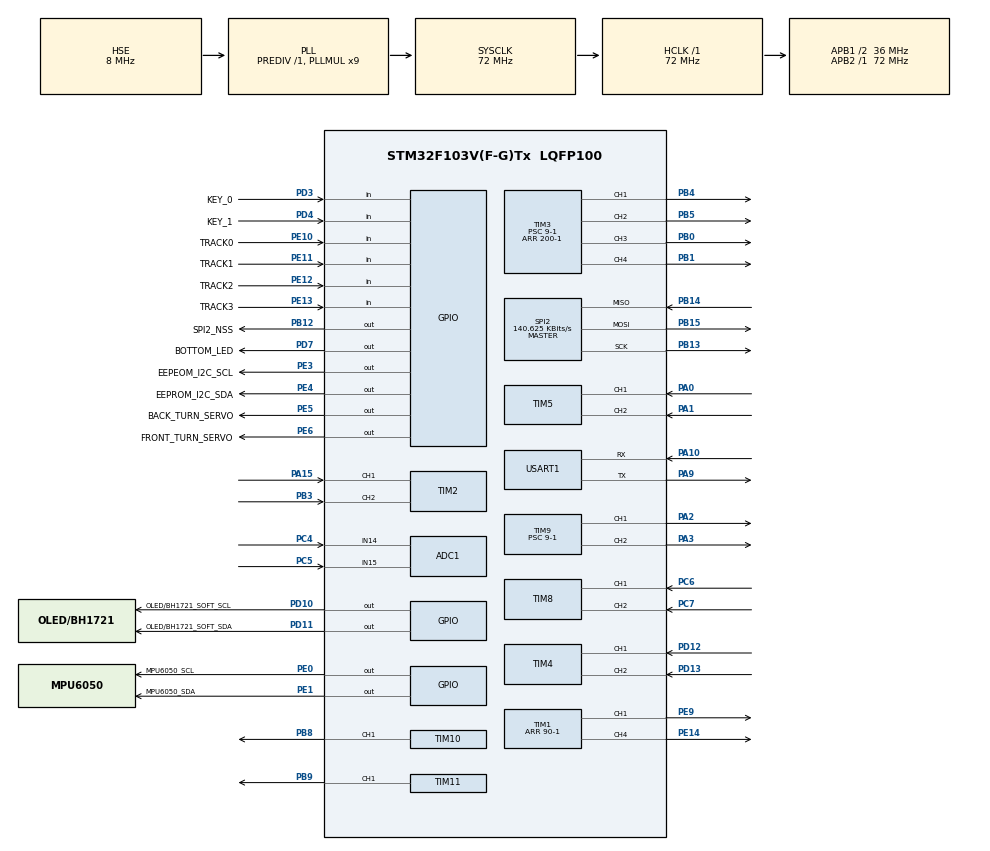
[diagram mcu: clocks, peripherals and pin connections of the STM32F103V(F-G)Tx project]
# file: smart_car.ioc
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ADC1.Channel-0\#ChannelRegularConversion=ADC_CHANNEL_14
ADC1.ContinuousConvMode=ENABLE
ADC1.NbrOfConversionFlag=1
ADC1.Rank-0\#ChannelRegularConversion=1
ADC1.SamplingTime-0\#ChannelRegularConversion=ADC_SAMPLETIME_239CYCLES_5
ADC1.master=1
Dma.Request0=TIM1_CH1
Dma.Request1=TIM1_CH4/TRIG/COM
Dma.TIM1_CH1.0.Direction=DMA_MEMORY_TO_PERIPH
Dma.TIM1_CH1.0.Instance=DMA1_Channel2
Dma.TIM1_CH1.0.MemDataAlignment=DMA_MDATAALIGN_HALFWORD
Dma.TIM1_CH1.0.MemInc=DMA_MINC_ENABLE
Dma.TIM1_CH1.0.Mode=DMA_NORMAL
Dma.TIM1_CH1.0.PeriphDataAlignment=DMA_PDATAALIGN_HALFWORD
Dma.TIM1_CH1.0.PeriphInc=DMA_PINC_DISABLE
Dma.TIM1_CH1.0.Priority=DMA_PRIORITY_LOW
Dma.TIM1_CH4/TRIG/COM.1.Direction=DMA_MEMORY_TO_PERIPH
Dma.TIM1_CH4/TRIG/COM.1.Instance=DMA1_Channel4
Dma.TIM1_CH4/TRIG/COM.1.MemDataAlignment=DMA_MDATAALIGN_HALFWORD
Dma.TIM1_CH4/TRIG/COM.1.MemInc=DMA_MINC_ENABLE
Dma.TIM1_CH4/TRIG/COM.1.Mode=DMA_NORMAL
Dma.TIM1_CH4/TRIG/COM.1.PeriphDataAlignment=DMA_PDATAALIGN_HALFWORD
Dma.TIM1_CH4/TRIG/COM.1.PeriphInc=DMA_PINC_DISABLE
Dma.TIM1_CH4/TRIG/COM.1.Priority=DMA_PRIORITY_LOW
FREERTOS.Tasks01=defaultTask,8,128,StartDefaultTask,Default,NULL,Dynamic,NULL,NULL;key_proc,24,128,start_key_proc,As weak,NULL,Dynamic,NULL,NULL;battery_proc,12,128,start_battery_proc,As weak,NULL,Dynamic,NULL,NULL;temp_proc,14,128,start_temperature_proc,As weak,NULL,Dynamic,NULL,NULL;eeprom_proc,10,128,start_eeprom_proc,As weak,NULL,Dynamic,NULL,NULL;mpu6050_proc,32,512,start_mpu6050_proc,As weak,NULL,Dynamic,NULL,NULL;pid_proc,54,128,start_pid_proc,As weak,NULL,Dynamic,NULL,NULL;ps2_proc,40,128,start_ps2_proc,As weak,NULL,Dynamic,NULL,NULL;oled_proc,24,512,start_oled_proc,As weak,NULL,Dynamic,NULL,NULL
FREERTOS.configTOTAL_HEAP_SIZE=20480
Mcu.Family=STM32F1
Mcu.Name=STM32F103V(F-G)Tx
Mcu.Package=LQFP100
NVIC.DMA1_Channel2_IRQn=true\:5\:0\:false\:false\:true\:true\:false\:true\:true
NVIC.DMA1_Channel4_IRQn=true\:5\:0\:false\:false\:true\:true\:false\:true\:true
NVIC.PriorityGroup=NVIC_PRIORITYGROUP_4
NVIC.TIM6_IRQn=true\:5\:0\:false\:false\:true\:true\:true\:true\:true
NVIC.TIM7_IRQn=true\:0\:0\:true\:false\:true\:false\:false\:true\:true
NVIC.TimeBase=TIM7_IRQn
NVIC.TimeBaseIP=TIM7
OSC_IN.Mode=HSE-External-Oscillator
OSC_IN.Signal=RCC_OSC_IN
OSC_OUT.Mode=HSE-External-Oscillator
OSC_OUT.Signal=RCC_OSC_OUT
PA0-WKUP.Signal=S_TIM5_CH1
PA1.Signal=S_TIM5_CH2
PA10.Mode=Asynchronous
PA10.Signal=USART1_RX
PA13.Mode=Serial_Wire
PA13.Signal=SYS_JTMS-SWDIO
PA14.Mode=Serial_Wire
PA14.Signal=SYS_JTCK-SWCLK
PA15.Signal=S_TIM2_CH1_ETR
PA2.Signal=S_TIM9_CH1
PA3.Signal=S_TIM9_CH2
PA9.Mode=Asynchronous
PA9.Signal=USART1_TX
PB0.Signal=S_TIM3_CH3
PB1.Signal=S_TIM3_CH4
PB12.GPIO_Label=SPI2_NSS
PB12.GPIO_ModeDefaultOutputPP=GPIO_MODE_OUTPUT_PP
PB12.GPIO_Speed=GPIO_SPEED_FREQ_HIGH
PB12.PinState=GPIO_PIN_SET
PB12.Signal=GPIO_Output
PB13.Mode=Full_Duplex_Master
PB13.Signal=SPI2_SCK
PB14.Mode=Full_Duplex_Master
PB14.Signal=SPI2_MISO
PB15.Mode=Full_Duplex_Master
PB15.Signal=SPI2_MOSI
PB3.Signal=S_TIM2_CH2
PB4.Signal=S_TIM3_CH1
PB5.Signal=S_TIM3_CH2
PB8.Signal=S_TIM10_CH1
PB9.Signal=S_TIM11_CH1
PC4.Signal=ADCx_IN14
PC5.Signal=ADCx_IN15
PC6.Signal=S_TIM8_CH1
PC7.Signal=S_TIM8_CH2
PD10.GPIO_Label=OLED/BH1721_SOFT_SCL
PD10.GPIO_ModeDefaultOutputPP=GPIO_MODE_OUTPUT_OD
PD10.GPIO_PuPd=GPIO_PULLUP
PD10.GPIO_Speed=GPIO_SPEED_FREQ_HIGH
PD10.PinState=GPIO_PIN_SET
PD10.Signal=GPIO_Output
PD11.GPIO_Label=OLED/BH1721_SOFT_SDA
PD11.GPIO_ModeDefaultOutputPP=GPIO_MODE_OUTPUT_OD
PD11.GPIO_PuPd=GPIO_PULLUP
PD11.GPIO_Speed=GPIO_SPEED_FREQ_HIGH
PD11.PinState=GPIO_PIN_SET
PD11.Signal=GPIO_Output
PD12.Signal=S_TIM4_CH1
PD13.Signal=S_TIM4_CH2
PD3.GPIO_Label=KEY_0
PD3.GPIO_PuPd=GPIO_PULLUP
PD3.Signal=GPIO_Input
PD4.GPIO_Label=KEY_1
PD4.GPIO_PuPd=GPIO_PULLUP
PD4.Signal=GPIO_Input
PD7.GPIO_Label=BOTTOM_LED
PD7.GPIO_ModeDefaultOutputPP=GPIO_MODE_OUTPUT_PP
PD7.GPIO_PuPd=GPIO_NOPULL
PD7.PinState=GPIO_PIN_RESET
PD7.Signal=GPIO_Output
PE0.GPIO_Label=MPU6050_SCL
PE0.GPIO_PuPd=GPIO_PULLUP
PE0.GPIO_Speed=GPIO_SPEED_FREQ_HIGH
PE0.PinState=GPIO_PIN_SET
PE0.Signal=GPIO_Output
PE1.GPIO_Label=MPU6050_SDA
PE1.GPIO_PuPd=GPIO_PULLUP
PE1.GPIO_Speed=GPIO_SPEED_FREQ_HIGH
PE1.PinState=GPIO_PIN_SET
PE1.Signal=GPIO_Output
PE10.GPIO_Label=TRACK0
PE10.Signal=GPIO_Input
PE11.GPIO_Label=TRACK1
PE11.Signal=GPIO_Input
PE12.GPIO_Label=TRACK2
PE12.Signal=GPIO_Input
PE13.GPIO_Label=TRACK3
PE13.Signal=GPIO_Input
PE14.Signal=S_TIM1_CH4
PE3.GPIO_Label=EEPEOM_I2C_SCL
PE3.GPIO_ModeDefaultOutputPP=GPIO_MODE_OUTPUT_OD
PE3.GPIO_PuPd=GPIO_PULLUP
PE3.GPIO_Speed=GPIO_SPEED_FREQ_HIGH
PE3.PinState=GPIO_PIN_SET
PE3.Signal=GPIO_Output
PE4.GPIO_Label=EEPROM_I2C_SDA
PE4.GPIO_ModeDefaultOutputPP=GPIO_MODE_OUTPUT_OD
PE4.GPIO_PuPd=GPIO_PULLUP
PE4.GPIO_Speed=GPIO_SPEED_FREQ_HIGH
PE4.PinState=GPIO_PIN_SET
PE4.Signal=GPIO_Output
PE5.GPIO_Label=BACK_TURN_SERVO
PE5.Signal=GPIO_Output
PE6.GPIO_Label=FRONT_TURN_SERVO
PE6.Signal=GPIO_Output
PE9.Signal=S_TIM1_CH1
ProjectManager.HeapSize=0x200
ProjectManager.StackSize=0x400
ProjectManager.TargetToolchain=MDK-ARM V5.32
RCC.ADCPresc=RCC_ADCPCLK2_DIV6
RCC.AHBFreq_Value=72000000
RCC.APB1CLKDivider=RCC_HCLK_DIV2
RCC.APB1Freq_Value=36000000
RCC.APB1TimFreq_Value=72000000
RCC.APB2Freq_Value=72000000
RCC.APB2TimFreq_Value=72000000
RCC.HCLKFreq_Value=72000000
RCC.PLLMUL=RCC_PLL_MUL9
RCC.PLLSourceVirtual=RCC_PLLSOURCE_HSE
RCC.SYSCLKFreq_VALUE=72000000
RCC.SYSCLKSource=RCC_SYSCLKSOURCE_PLLCLK
RCC.USBFreq_Value=72000000
SH.ADCx_IN14.0=ADC1_IN14,IN14
SH.ADCx_IN15.0=ADC1_IN15,IN15
SH.S_TIM10_CH1.0=TIM10_CH1,PWM Generation1 CH1
SH.S_TIM11_CH1.0=TIM11_CH1,PWM Generation1 CH1
SH.S_TIM1_CH1.0=TIM1_CH1,PWM Generation1 CH1
SH.S_TIM1_CH4.0=TIM1_CH4,PWM Generation4 CH4
SH.S_TIM2_CH1_ETR.0=TIM2_CH1,Encoder_Interface
SH.S_TIM2_CH2.0=TIM2_CH2,Encoder_Interface
SH.S_TIM3_CH1.0=TIM3_CH1,PWM Generation1 CH1
SH.S_TIM3_CH2.0=TIM3_CH2,PWM Generation2 CH2
SH.S_TIM3_CH3.0=TIM3_CH3,PWM Generation3 CH3
SH.S_TIM3_CH4.0=TIM3_CH4,PWM Generation4 CH4
SH.S_TIM4_CH1.0=TIM4_CH1,Encoder_Interface
SH.S_TIM4_CH2.0=TIM4_CH2,Encoder_Interface
SH.S_TIM5_CH1.0=TIM5_CH1,Encoder_Interface
SH.S_TIM5_CH2.0=TIM5_CH2,Encoder_Interface
SH.S_TIM8_CH1.0=TIM8_CH1,Encoder_Interface
SH.S_TIM8_CH2.0=TIM8_CH2,Encoder_Interface
SH.S_TIM9_CH1.0=TIM9_CH1,PWM Generation1 CH1
SH.S_TIM9_CH2.0=TIM9_CH2,PWM Generation2 CH2
SPI2.BaudRatePrescaler=SPI_BAUDRATEPRESCALER_256
SPI2.CLKPhase=SPI_PHASE_2EDGE
SPI2.CLKPolarity=SPI_POLARITY_HIGH
SPI2.CalculateBaudRate=140.625 KBits/s
SPI2.Direction=SPI_DIRECTION_2LINES
SPI2.FirstBit=SPI_FIRSTBIT_LSB
SPI2.Mode=SPI_MODE_MASTER
SPI2.VirtualType=VM_MASTER
TIM1.Channel-PWM\ Generation1\ CH1=TIM_CHANNEL_1
TIM1.Channel-PWM\ Generation4\ CH4=TIM_CHANNEL_4
TIM1.Period=90-1
TIM10.Channel=TIM_CHANNEL_1
TIM10.Period=200-1
TIM10.Prescaler=9-1
TIM11.Channel=TIM_CHANNEL_1
TIM11.Period=200-1
TIM11.Prescaler=9-1
TIM2.EncoderMode=TIM_ENCODERMODE_TI12
TIM3.Channel-PWM\ Generation1\ CH1=TIM_CHANNEL_1
TIM3.Channel-PWM\ Generation2\ CH2=TIM_CHANNEL_2
TIM3.Channel-PWM\ Generation3\ CH3=TIM_CHANNEL_3
TIM3.Channel-PWM\ Generation4\ CH4=TIM_CHANNEL_4
TIM3.Period=200-1
TIM3.Prescaler=9-1
TIM4.EncoderMode=TIM_ENCODERMODE_TI12
TIM5.EncoderMode=TIM_ENCODERMODE_TI12
TIM6.Period=9
TIM6.Prescaler=72-1
TIM8.EncoderMode=TIM_ENCODERMODE_TI12
TIM9.Channel-PWM\ Generation1\ CH1=TIM_CHANNEL_1
TIM9.Channel-PWM\ Generation2\ CH2=TIM_CHANNEL_2
TIM9.Period=200-1
TIM9.Prescaler=9-1
USART1.VirtualMode=VM_ASYNC
VP_FREERTOS_VS_CMSIS_V2.Mode=CMSIS_V2
VP_SYS_VS_tim7.Mode=TIM7
VP_TIM10_VS_ClockSourceINT.Mode=Enable_Timer
VP_TIM11_VS_ClockSourceINT.Mode=Enable_Timer
VP_TIM1_VS_ClockSourceINT.Mode=Internal
VP_TIM3_VS_ClockSourceINT.Mode=Internal
VP_TIM6_VS_ClockSourceINT.Mode=Enable_Timer
VP_TIM9_VS_ClockSourceINT.Mode=Internal
board=custom

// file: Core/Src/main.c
/* USER CODE BEGIN Header */
/**
  ******************************************************************************
  * @file           : main.c
  * @brief          : Main program body
  ******************************************************************************
  * @attention
  *
  * Copyright (c) 2026 STMicroelectronics.
  * All rights reserved.
  *
  * This software is licensed under terms that can be found in the LICENSE file
  * in the root directory of this software component.
  * If no LICENSE file comes with this software, it is provided AS-IS.
  *
  ******************************************************************************
  */
/* USER CODE END Header */
#include "main.h"
#include "cmsis_os.h"
#include "adc.h"
#include "dma.h"
#include "spi.h"
#include "tim.h"
#include "usart.h"
#include "gpio.h"

/* USER CODE BEGIN Includes */
#include "stdio.h"
#include "key.h"
#include "servo.h"
#include "motor.h"
#include "encoder.h"
#include "pid.h"
#include "ws2812.h"
#include "oled.h"
#include "battery.h"
#include "ntc.h"
#include "bh1721.h"
#include "delay.h"
#include "eeprom.h"
#include "mpu6050.h"
#include "ps2.h"
/* USER CODE END Includes */

void SystemClock_Config(void);
void MX_FREERTOS_Init(void);
/* USER CODE BEGIN PFP */
typedef struct __FILE FILE;
int fputc(int ch, FILE *str)
{
	HAL_UART_Transmit(&huart1, (uint8_t *)&ch, 1, 10);
	return ch;
}

uint8_t totalDistance = 10;
/* USER CODE END PFP */

int main(void)
{

  /* MCU Configuration--------------------------------------------------------*/

  /* Reset of all peripherals, Initializes the Flash interface and the Systick. */
  HAL_Init();

  /* Configure the system clock */
  SystemClock_Config();

  /* Initialize all configured peripherals */
  MX_GPIO_Init();
  MX_DMA_Init();
  MX_USART1_UART_Init();
  MX_TIM6_Init();
  MX_TIM3_Init();
  MX_TIM9_Init();
  MX_TIM10_Init();
  MX_TIM11_Init();
  MX_TIM4_Init();
  MX_TIM2_Init();
  MX_TIM5_Init();
  MX_TIM8_Init();
  MX_TIM1_Init();
  MX_ADC1_Init();
  MX_SPI2_Init();
  /* USER CODE BEGIN 2 */
	servo_init();
	motor_init();
	DWT_Init();
	encoder_init();
	ADC_init();
	OLED_Init();
	OLED_Clear();
	NTC_ADC_Init();
	BH1721_Init();
	PS2_Init();
//	mpu6050_init();

  /* USER CODE END 2 */

  /* Init scheduler */
  osKernelInitialize();  /* Call init function for freertos objects (in cmsis_os2.c) */
  MX_FREERTOS_Init();

  /* Start scheduler */
  osKernelStart();

  /* We should never get here as control is now taken by the scheduler */

  /* Infinite loop */
  while (1)
  {

  }
}

void SystemClock_Config(void)
{
  RCC_OscInitTypeDef RCC_OscInitStruct = {0};
  RCC_ClkInitTypeDef RCC_ClkInitStruct = {0};
  RCC_PeriphCLKInitTypeDef PeriphClkInit = {0};

  /** Initializes the RCC Oscillators according to the specified parameters
  * in the RCC_OscInitTypeDef structure.
  */
  RCC_OscInitStruct.OscillatorType = RCC_OSCILLATORTYPE_HSE;
  RCC_OscInitStruct.HSEState = RCC_HSE_ON;
  RCC_OscInitStruct.HSEPredivValue = RCC_HSE_PREDIV_DIV1;
  RCC_OscInitStruct.HSIState = RCC_HSI_ON;
  RCC_OscInitStruct.PLL.PLLState = RCC_PLL_ON;
  RCC_OscInitStruct.PLL.PLLSource = RCC_PLLSOURCE_HSE;
  RCC_OscInitStruct.PLL.PLLMUL = RCC_PLL_MUL9;
  if (HAL_RCC_OscConfig(&RCC_OscInitStruct) != HAL_OK)
  {
    Error_Handler();
  }

  /** Initializes the CPU, AHB and APB buses clocks
  */
  RCC_ClkInitStruct.ClockType = RCC_CLOCKTYPE_HCLK|RCC_CLOCKTYPE_SYSCLK
                              |RCC_CLOCKTYPE_PCLK1|RCC_CLOCKTYPE_PCLK2;
  RCC_ClkInitStruct.SYSCLKSource = RCC_SYSCLKSOURCE_PLLCLK;
  RCC_ClkInitStruct.AHBCLKDivider = RCC_SYSCLK_DIV1;
  RCC_ClkInitStruct.APB1CLKDivider = RCC_HCLK_DIV2;
  RCC_ClkInitStruct.APB2CLKDivider = RCC_HCLK_DIV1;

  if (HAL_RCC_ClockConfig(&RCC_ClkInitStruct, FLASH_LATENCY_2) != HAL_OK)
  {
    Error_Handler();
  }
  PeriphClkInit.PeriphClockSelection = RCC_PERIPHCLK_ADC;
  PeriphClkInit.AdcClockSelection = RCC_ADCPCLK2_DIV6;
  if (HAL_RCCEx_PeriphCLKConfig(&PeriphClkInit) != HAL_OK)
  {
    Error_Handler();
  }
}

void HAL_TIM_PeriodElapsedCallback(TIM_HandleTypeDef *htim)
{
  if (htim->Instance == TIM7)
  {
    HAL_IncTick();
  }
  /* USER CODE BEGIN Callback 1 */
    static uint16_t count = 0;
    if(htim->Instance == TIM6)  // timer6 10us
    {
        if(++count == 2000) count = 0;
        // 前舵机pwm输出
        if(count < front_pwm_value)
        {
            HAL_GPIO_WritePin(GPIOE, GPIO_PIN_6, GPIO_PIN_SET);
        }
        else
        {
            HAL_GPIO_WritePin(GPIOE, GPIO_PIN_6, GPIO_PIN_RESET);
        }
        // 后舵机pwm输出
        if(count < back_pwm_value)
        {
            HAL_GPIO_WritePin(GPIOE, GPIO_PIN_5, GPIO_PIN_SET);
        }
        else
        {
            HAL_GPIO_WritePin(GPIOE, GPIO_PIN_5, GPIO_PIN_RESET);
        }
    }
  /* USER CODE END Callback 1 */
}

void Error_Handler(void)
{
  __disable_irq();
  while (1)
  {
  }
}

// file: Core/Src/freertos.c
/* USER CODE BEGIN Header */
/**
  ******************************************************************************
  * File Name          : freertos.c
  * Description        : Code for freertos applications
  ******************************************************************************
  * @attention
  *
  * Copyright (c) 2026 STMicroelectronics.
  * All rights reserved.
  *
  * This software is licensed under terms that can be found in the LICENSE file
  * in the root directory of this software component.
  * If no LICENSE file comes with this software, it is provided AS-IS.
  *
  ******************************************************************************
  */
/* USER CODE END Header */

#include "FreeRTOS.h"
#include "task.h"
#include "main.h"
#include "cmsis_os.h"

/* USER CODE BEGIN Includes */
#include "system_bsp.h"
/* USER CODE END Includes */

/* Definitions for defaultTask */
osThreadId_t defaultTaskHandle;
const osThreadAttr_t defaultTask_attributes = {
  .name = "defaultTask",
  .stack_size = 128 * 4,
  .priority = (osPriority_t) osPriorityLow,
};
/* Definitions for key_proc */
osThreadId_t key_procHandle;
const osThreadAttr_t key_proc_attributes = {
  .name = "key_proc",
  .stack_size = 128 * 4,
  .priority = (osPriority_t) osPriorityNormal,
};
/* Definitions for battery_proc */
osThreadId_t battery_procHandle;
const osThreadAttr_t battery_proc_attributes = {
  .name = "battery_proc",
  .stack_size = 128 * 4,
  .priority = (osPriority_t) osPriorityLow4,
};
/* Definitions for temp_proc */
osThreadId_t temp_procHandle;
const osThreadAttr_t temp_proc_attributes = {
  .name = "temp_proc",
  .stack_size = 128 * 4,
  .priority = (osPriority_t) osPriorityLow6,
};
/* Definitions for eeprom_proc */
osThreadId_t eeprom_procHandle;
const osThreadAttr_t eeprom_proc_attributes = {
  .name = "eeprom_proc",
  .stack_size = 128 * 4,
  .priority = (osPriority_t) osPriorityLow2,
};
/* Definitions for mpu6050_proc */
osThreadId_t mpu6050_procHandle;
const osThreadAttr_t mpu6050_proc_attributes = {
  .name = "mpu6050_proc",
  .stack_size = 512 * 4,
  .priority = (osPriority_t) osPriorityAboveNormal,
};
/* Definitions for pid_proc */
osThreadId_t pid_procHandle;
const osThreadAttr_t pid_proc_attributes = {
  .name = "pid_proc",
  .stack_size = 128 * 4,
  .priority = (osPriority_t) osPriorityRealtime6,
};
/* Definitions for ps2_proc */
osThreadId_t ps2_procHandle;
const osThreadAttr_t ps2_proc_attributes = {
  .name = "ps2_proc",
  .stack_size = 128 * 4,
  .priority = (osPriority_t) osPriorityHigh,
};
/* Definitions for oled_proc */
osThreadId_t oled_procHandle;
const osThreadAttr_t oled_proc_attributes = {
  .name = "oled_proc",
  .stack_size = 512 * 4,
  .priority = (osPriority_t) osPriorityNormal,
};

void StartDefaultTask(void *argument);
void start_key_proc(void *argument);
void start_battery_proc(void *argument);
void start_temperature_proc(void *argument);
void start_eeprom_proc(void *argument);
void start_mpu6050_proc(void *argument);
void start_pid_proc(void *argument);
void start_ps2_proc(void *argument);
void start_oled_proc(void *argument);

void MX_FREERTOS_Init(void); /* (MISRA C 2004 rule 8.1) */

void MX_FREERTOS_Init(void) {

  /* Create the thread(s) */
  /* creation of defaultTask */
  defaultTaskHandle = osThreadNew(StartDefaultTask, NULL, &defaultTask_attributes);

  /* creation of key_proc */
  key_procHandle = osThreadNew(start_key_proc, NULL, &key_proc_attributes);

  /* creation of battery_proc */
  battery_procHandle = osThreadNew(start_battery_proc, NULL, &battery_proc_attributes);

  /* creation of temp_proc */
  temp_procHandle = osThreadNew(start_temperature_proc, NULL, &temp_proc_attributes);

  /* creation of eeprom_proc */
  eeprom_procHandle = osThreadNew(start_eeprom_proc, NULL, &eeprom_proc_attributes);

  /* creation of mpu6050_proc */
  mpu6050_procHandle = osThreadNew(start_mpu6050_proc, NULL, &mpu6050_proc_attributes);

  /* creation of pid_proc */
  pid_procHandle = osThreadNew(start_pid_proc, NULL, &pid_proc_attributes);

  /* creation of ps2_proc */
  ps2_procHandle = osThreadNew(start_ps2_proc, NULL, &ps2_proc_attributes);

  /* creation of oled_proc */
  oled_procHandle = osThreadNew(start_oled_proc, NULL, &oled_proc_attributes);

}

void StartDefaultTask(void *argument)
{
  for(;;)
  {
    osDelay(1);
  }
}

__weak void start_key_proc(void *argument)
{
  /* USER CODE BEGIN start_key_proc */
  /* Infinite loop */
  for(;;)
  {
    key_proc();

    vTaskDelay(pdMS_TO_TICKS(20));
  }
  /* USER CODE END start_key_proc */
}

__weak void start_battery_proc(void *argument)
{
  /* USER CODE BEGIN start_battery_proc */
  /* Infinite loop */
  for(;;)
  {
    battery_proc();

    vTaskDelay(pdMS_TO_TICKS(1000));
  }
  /* USER CODE END start_battery_proc */
}

__weak void start_temperature_proc(void *argument)
{
  /* USER CODE BEGIN start_temperature_proc */
  /* Infinite loop */
  for(;;)
  {
    temperature_proc();

    vTaskDelay(pdMS_TO_TICKS(500));
  }
  /* USER CODE END start_temperature_proc */
}

__weak void start_eeprom_proc(void *argument)
{
  /* USER CODE BEGIN start_eeprom_proc */
  /* Infinite loop */
  for(;;)
  {
    eeprom_proc();

    vTaskDelay(pdMS_TO_TICKS(1000));
  }
  /* USER CODE END start_eeprom_proc */
}

__weak void start_mpu6050_proc(void *argument)
{
  /* USER CODE BEGIN start_mpu6050_proc */
  /* Infinite loop */
  for(;;)
  {
    mpu6050_proc();

    vTaskDelay(pdMS_TO_TICKS(30));
  }
  /* USER CODE END start_mpu6050_proc */
}

__weak void start_pid_proc(void *argument)
{
  /* USER CODE BEGIN start_pid_proc */
    TickType_t xLastWakeTime = xTaskGetTickCount();
    const TickType_t xFrequency = pdMS_TO_TICKS(10);
  /* Infinite loop */
  for(;;)
  {
    pid_proc();

    // 绝对延时
    vTaskDelayUntil(&xLastWakeTime, xFrequency);
  }
  /* USER CODE END start_pid_proc */
}

__weak void start_ps2_proc(void *argument)
{
  /* USER CODE BEGIN start_ps2_proc */
  /* Infinite loop */
  for(;;)
  {
    ps2_proc();

    vTaskDelay(pdMS_TO_TICKS(20));
  }
  /* USER CODE END start_ps2_proc */
}

__weak void start_oled_proc(void *argument)
{
  for(;;)
  {
    osDelay(1);
  }
}
